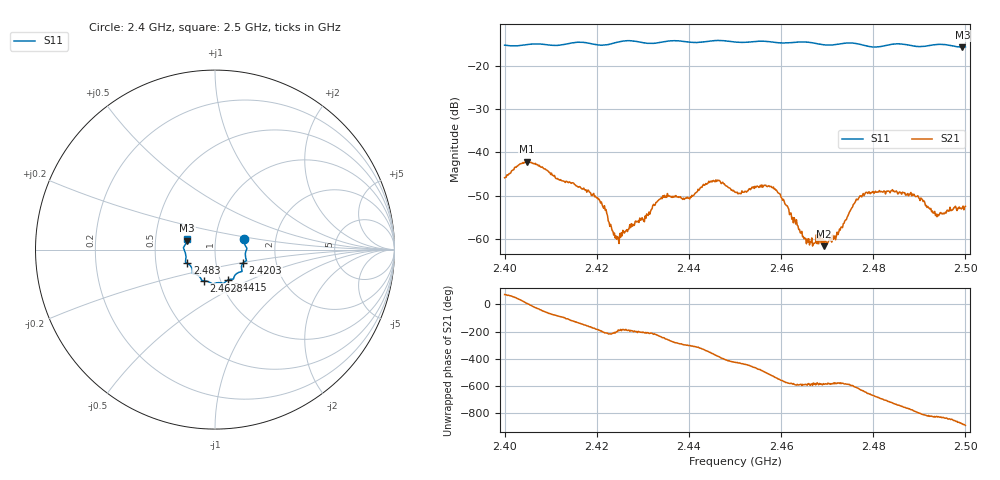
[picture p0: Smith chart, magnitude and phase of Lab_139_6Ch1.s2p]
# Hz S RI R 50
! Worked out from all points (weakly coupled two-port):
!   601 points, 2.4 GHz to 2.5 GHz, reference 50 ohm
!   highest |S21| = -42.21 dB at 2.4048 GHz (marker M1); lowest = -61.7 dB at 2.4693 GHz (marker M2)
!   lowest |S11| = -15.8 dB at 2.4993 GHz (marker M3), VSWR 1.39, Z = 36.4 + j3.67 ohm
!   |S11| at or under -10 dB: start of sweep to end of sweep
!   S12 and S22 are empty: the file has one direction only
!   S11 on the Smith chart (normalised r, x): 2.4 GHz: 1.38, +0.16; 2.4203 GHz: 1.35, -0.21; 2.4415 GHz: 1.09, -0.38; 2.4628 GHz: 0.83, -0.30; 2.483 GHz: 0.73, -0.11; 2.5 GHz: 0.73, +0.09
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2.4e9  0.1622 0.0567  0.00147 0.00486  0 0  0 0
2.404833e9  0.1738 0.0139  0.00767 0.00117  0 0  0 0
2.416667e9  0.1752 -0.062  -0.00307 -0.0023  0 0  0 0
2.420333e9  0.156 -0.0745  -0.00284 0.000273  0 0  0 0
2.4245e9  0.1492 -0.1114  -0.000995 0.000371  0 0  0 0
2.430667e9  0.1268 -0.13  -0.00156 0.000738  0 0  0 0
2.433333e9  0.1081 -0.1478  -0.00181 0.00209  0 0  0 0
2.4415e9  0.0734 -0.169  0.00222 0.00259  0 0  0 0
2.446167e9  0.0484 -0.1885  0.00451 -0.00154  0 0  0 0
2.45e9  0.0297 -0.1846  0.00145 -0.00313  0 0  0 0
2.457833e9  -0.0228 -0.1861  -0.00381 -0.00133  0 0  0 0
2.462833e9  -0.0622 -0.1743  -0.00121 0.00128  0 0  0 0
2.466667e9  -0.0752 -0.1675  -0.000728 0.000721  0 0  0 0
2.469333e9  -0.0874 -0.1497  -0.000565 0.0006  0 0  0 0
2.471833e9  -0.1092 -0.1363  -0.000776 0.000593  0 0  0 0
2.477333e9  -0.1252 -0.1217  2e-05 0.00312  0 0  0 0
2.483e9  -0.1539 -0.0767  0.00345 0.00071  0 0  0 0
2.483333e9  -0.1562 -0.0752  0.00353 0.00032  0 0  0 0
2.489333e9  -0.1619 -0.0378  0.00105 -0.0029  0 0  0 0
2.494e9  -0.1753 0.00708  -0.000633 -0.00181  0 0  0 0
2.499333e9  -0.1555 0.049  -0.00213 -0.00084  0 0  0 0
2.5e9  -0.1536 0.0577  -0.00235 -0.000388  0 0  0 0
